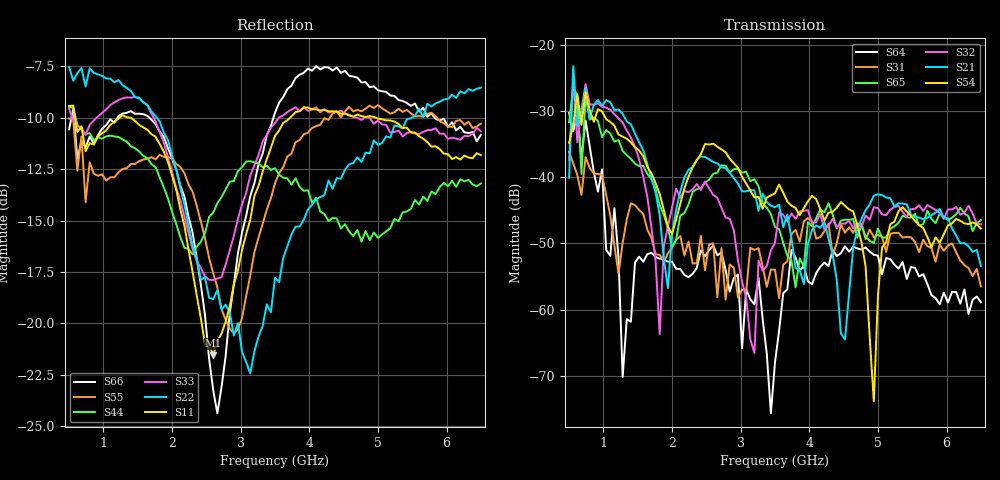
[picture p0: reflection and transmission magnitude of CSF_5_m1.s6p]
!Keysight Technologies,M9804A,MY58100912,A.14.10.03
!Date: Thursday, April 27, 2023 10:28:33
!Correction: S11(C  6-Port  )
!S12(C  6-Port  )
!S13(C  6-Port  )
!S14(C  6-Port  )
!S15(C  6-Port  )
!S16(C  6-Port  )
!S21(C  6-Port  )
!S22(C  6-Port  )
!S23(C  6-Port  )
!S24(C  6-Port  )
!S25(C  6-Port  )
!S26(C  6-Port  )
!S31(C  6-Port  )
!S32(C  6-Port  )
!S33(C  6-Port  )
!S34(C  6-Port  )
!S35(C  6-Port  )
!S36(C  6-Port  )
!S41(C  6-Port  )
!S42(C  6-Port  )
!S43(C  6-Port  )
!S44(C  6-Port  )
!S45(C  6-Port  )
!S46(C  6-Port  )
!S51(C  6-Port  )
!S52(C  6-Port  )
!S53(C  6-Port  )
!S54(C  6-Port  )
!S55(C  6-Port  )
!S56(C  6-Port  )
!S61(C  6-Port  )
!S62(C  6-Port  )
!S63(C  6-Port  )
!S64(C  6-Port  )
!S65(C  6-Port  )
!S66(C  6-Port  )
!S6P File: Measurement: :
# Hz S  RI  R 50
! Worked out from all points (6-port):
!   101 points, 500 MHz to 6.5 GHz, reference 50 ohm
!   strongest paths, dB at 500 MHz, 2 GHz, 3.5 GHz, 5 GHz, 6.5 GHz:
!     S54: -34.8, -48.6, -42.4, -57.9, -47.8
!     S21: -40.1, -48.6, -44.5, -42.6, -53.4
!     S32: -37.4, -44.6, -49.9, -44.7, -47.1
!     S65: -31.7, -50.6, -47.5, -47.7, -46.5
!     S31: -36.2, -50.6, -54.0, -48.7, -56.5
!     S64: -30.3, -52.8, -68.0, -51.8, -58.9
!   lowest |S11| = -21.5 dB at 2.6 GHz (marker M1), VSWR 1.18, Z = 42.5 + j2.11 ohm
!   |S11| at or under -10 dB: 588.1 MHz to 1.233 GHz (644.5 MHz wide, 70.8 % of centre); 1.401 GHz to 3.718 GHz (2.317 GHz wide, 90.5 % of centre); 4.976 GHz to end of sweep
